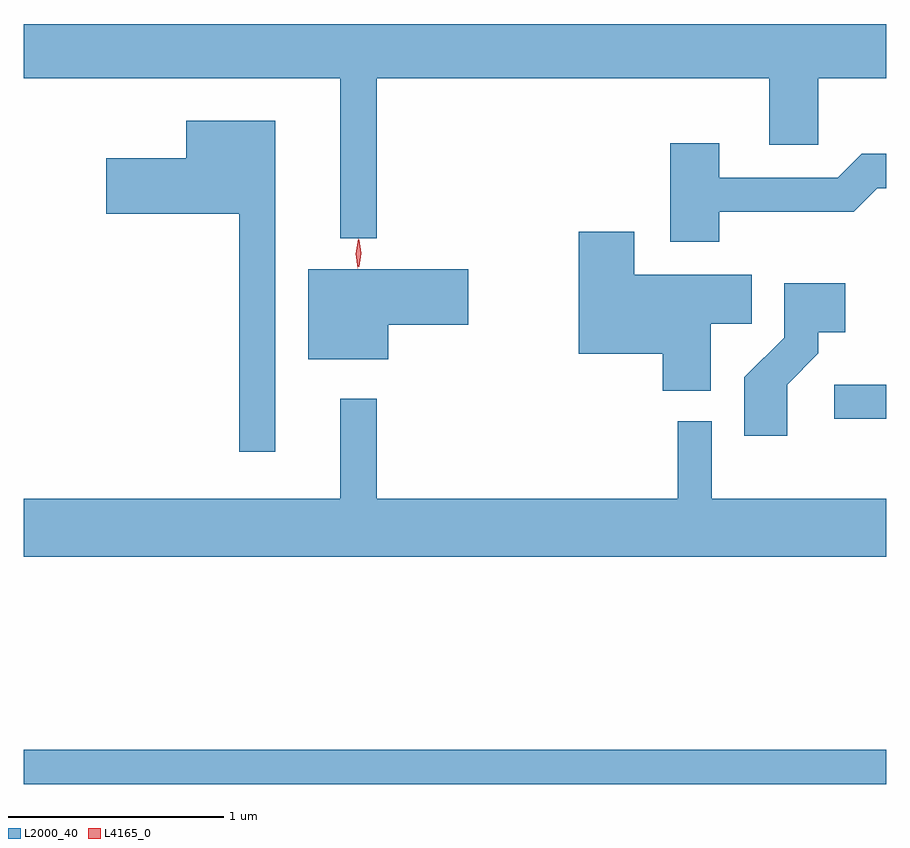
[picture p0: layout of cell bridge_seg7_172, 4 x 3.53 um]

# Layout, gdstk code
import gdstk
lib = gdstk.Library(unit=1e-6, precision=1e-09)
def R(c, l, rs):  # rectangles x0, y0, x1, y1
    for r in rs: c.add(gdstk.rectangle(r[:2], r[2:], *l))
def P(c, l, *ps):  # polygons
    for p in ps: c.add(gdstk.Polygon(p, *l))
L2000_40 = (2000, 40)
L4165_0 = (4165, 0)

bridge_seg7_172 = lib.new_cell('bridge_seg7_172')
R(bridge_seg7_172, L2000_40, [(1596.863,1693.281,1600.863,1693.439), (1600.623,1694.976,1600.863,1695.134)])
P(bridge_seg7_172, L2000_40, [(1598.499,1696.556),(1600.321,1696.556),(1600.321,1696.246),(1600.549,1696.246),(1600.549,1696.556),(1600.863,1696.556),(1600.863,1696.807),(1596.863,1696.807),(1596.863,1696.556),(1598.331,1696.556),(1598.331,1695.813),(1598.499,1695.813)],
  [(1598.029,1696.359),(1597.616,1696.359),(1597.616,1696.184),(1597.246,1696.184),(1597.246,1695.926),(1597.861,1695.926),(1597.861,1694.823),(1598.029,1694.823)],
  [(1600.089,1695.936),(1600.712,1695.936),(1600.822,1696.046),(1600.863,1696.046),(1600.863,1696.204),(1600.749,1696.204),(1600.639,1696.094),(1600.089,1696.094),(1600.089,1696.254),(1599.861,1696.254),(1599.861,1695.796),(1600.089,1695.796)],
  [(1600.049,1695.416),(1600.239,1695.416),(1600.239,1695.644),(1599.694,1695.644),(1599.694,1695.844),(1599.436,1695.844),(1599.436,1695.276),(1599.826,1695.276),(1599.826,1695.106),(1600.049,1695.106)],
  [(1598.554,1695.411),(1598.924,1695.411),(1598.924,1695.669),(1598.181,1695.669),(1598.181,1695.251),(1598.554,1695.251)],
  [(1600.404,1695.134),(1600.549,1695.279),(1600.549,1695.376),(1600.674,1695.376),(1600.674,1695.604),(1600.391,1695.604),(1600.391,1695.352),(1600.206,1695.167),(1600.206,1694.896),(1600.404,1694.896)],
  [(1600.863,1694.604),(1600.054,1694.604),(1600.054,1694.963),(1599.896,1694.963),(1599.896,1694.604),(1598.499,1694.604),(1598.499,1695.068),(1598.331,1695.068),(1598.331,1694.604),(1596.863,1694.604),(1596.863,1694.336),(1600.863,1694.336)])
P(bridge_seg7_172, L4165_0, [(1598.411,1695.674),(1598.402,1695.742),(1598.413,1695.81),(1598.413,1695.81),(1598.414,1695.81),(1598.422,1695.742),(1598.412,1695.674),(1598.412,1695.674)],
  [(1598.417,1695.68),(1598.408,1695.743),(1598.417,1695.806),(1598.418,1695.807),(1598.418,1695.806),(1598.428,1695.743),(1598.418,1695.68),(1598.418,1695.68)])

lib.write_gds('bridge_seg7_172.gds')
